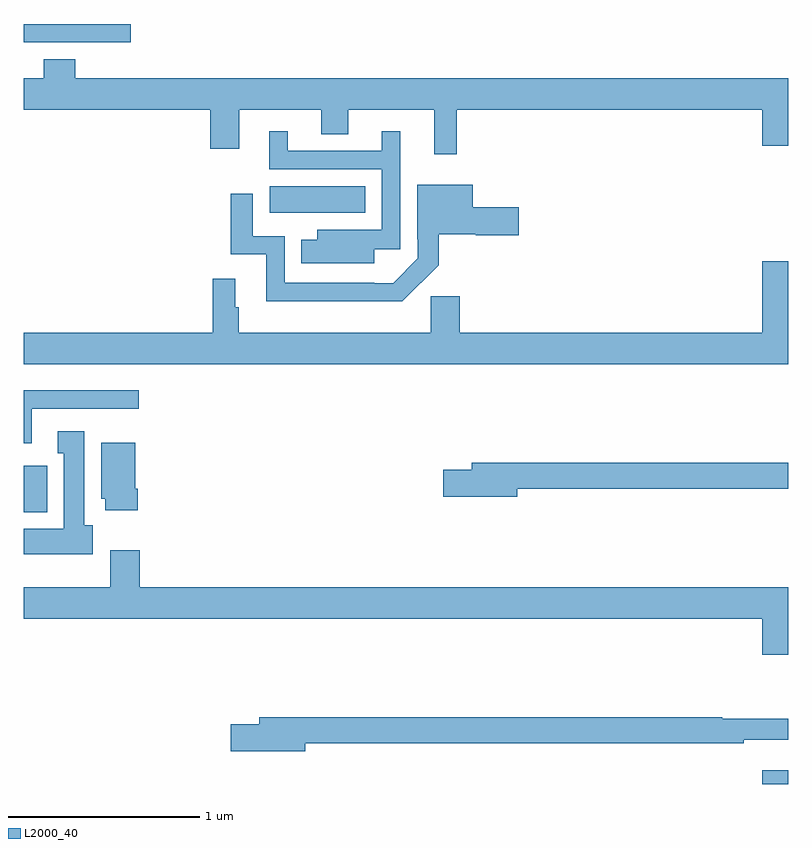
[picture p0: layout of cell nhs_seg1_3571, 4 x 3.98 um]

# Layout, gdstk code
import gdstk
lib = gdstk.Library(unit=1e-6, precision=1e-09)
def R(c, l, rs):  # rectangles x0, y0, x1, y1
    for r in rs: c.add(gdstk.rectangle(r[:2], r[2:], *l))
def P(c, l, *ps):  # polygons
    for p in ps: c.add(gdstk.Polygon(p, *l))
L2000_40 = (2000, 40)

nhs_seg1_3571 = lib.new_cell('nhs_seg1_3571')
R(nhs_seg1_3571, L2000_40, [(308.864,552.199,309,552.271), (305,553.622,305.122,553.864), (306.288,555.188,306.788,555.328), (305,556.08,305.56,556.176)])
P(nhs_seg1_3571, L2000_40, [(307.265,555.728),(308.864,555.728),(308.864,555.54),(309,555.54),(309,555.892),(305.27,555.892),(305.27,555.991),(305.105,555.991),(305.105,555.892),(305,555.892),(305,555.728),(305.975,555.728),(305.975,555.522),(306.127,555.522),(306.127,555.728),(306.557,555.728),(306.557,555.598),(306.697,555.598),(306.697,555.728),(307.148,555.728),(307.148,555.495),(307.265,555.495)],
  [(306.835,554.997),(306.969,554.997),(306.969,555.616),(306.872,555.616),(306.872,555.513),(306.382,555.513),(306.382,555.616),(306.284,555.616),(306.284,555.417),(306.873,555.417),(306.873,555.1),(306.536,555.1),(306.536,555.046),(306.451,555.046),(306.451,554.924),(306.835,554.924)],
  [(307.171,554.914),(307.171,555.076),(307.365,555.076),(307.365,555.071),(307.591,555.071),(307.591,555.218),(307.348,555.218),(307.348,555.334),(307.059,555.334),(307.059,555.049),(307.062,555.049),(307.062,554.949),(306.933,554.82),(306.833,554.82),(306.833,554.823),(306.366,554.823),(306.366,555.066),(306.198,555.066),(306.198,555.289),(306.082,555.289),(306.082,554.97),(306.269,554.97),(306.269,554.726),(306.781,554.726),(306.781,554.724),(306.98,554.724)],
  [(309,554.935),(308.864,554.935),(308.864,554.56),(307.28,554.56),(307.28,554.751),(307.129,554.751),(307.129,554.56),(306.125,554.56),(306.125,554.693),(306.106,554.693),(306.106,554.842),(305.989,554.842),(305.989,554.56),(305,554.56),(305,554.396),(309,554.396)],
  [(305.041,554.163),(305.602,554.163),(305.602,554.26),(305,554.26),(305,553.982),(305.041,553.982)],
  [(305.362,553.554),(305.317,553.554),(305.317,554.044),(305.177,554.044),(305.177,553.931),(305.21,553.931),(305.21,553.534),(305,553.534),(305,553.4),(305.362,553.4)],
  [(305.597,553.744),(305.584,553.744),(305.584,553.984),(305.405,553.984),(305.405,553.692),(305.426,553.692),(305.426,553.632),(305.597,553.632)],
  [(307.582,553.744),(309,553.744),(309,553.88),(307.343,553.88),(307.343,553.844),(307.194,553.844),(307.194,553.702),(307.582,553.702)],
  [(309,553.228),(305.606,553.228),(305.606,553.423),(305.453,553.423),(305.453,553.228),(305,553.228),(305,553.064),(308.864,553.064),(308.864,552.876),(309,552.876)],
  [(306.472,552.412),(308.768,552.412),(308.768,552.431),(309,552.431),(309,552.541),(308.656,552.541),(308.656,552.548),(306.233,552.548),(306.233,552.512),(306.084,552.512),(306.084,552.37),(306.472,552.37)])

lib.write_gds('nhs_seg1_3571.gds')
